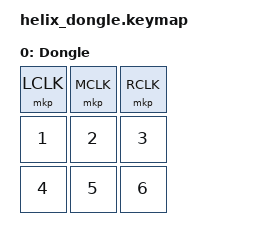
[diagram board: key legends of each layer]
#include <behaviors.dtsi>
#include <behaviors/mouse_keys.dtsi>
#include <dt-bindings/zmk/keys.h>
#include <dt-bindings/zmk/mouse.h>

/ {
    keymap {
        compatible = "zmk,keymap";
        default_layer {
            display-name = "Dongle";
            bindings = <
                &mkp LCLK &mkp MCLK &mkp RCLK
                &kp N1    &kp N2    &kp N3
                &kp N4    &kp N5    &kp N6
            >;
        };
    };
};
